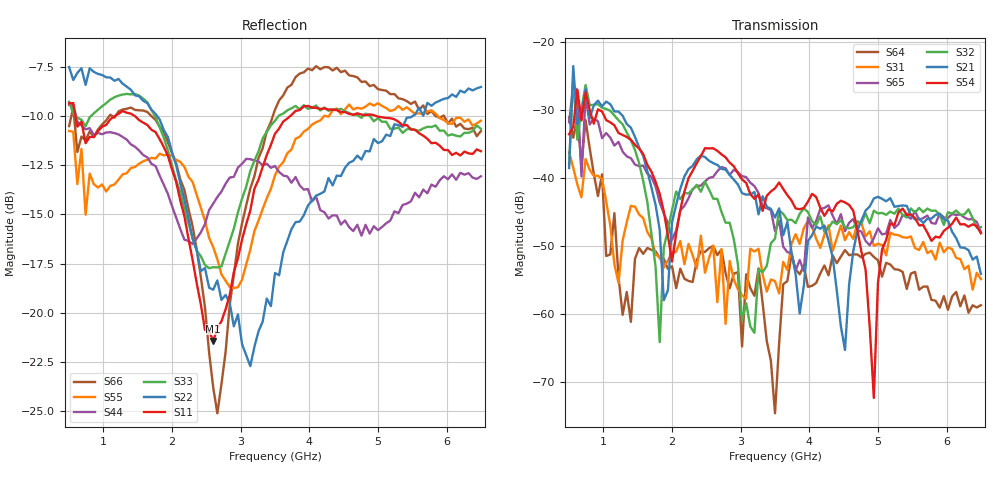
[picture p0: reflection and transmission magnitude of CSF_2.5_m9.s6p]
!Keysight Technologies,M9804A,MY58100912,A.14.10.03
!Date: Thursday, April 27, 2023 10:28:33
!Correction: S11(C  6-Port  )
!S12(C  6-Port  )
!S13(C  6-Port  )
!S14(C  6-Port  )
!S15(C  6-Port  )
!S16(C  6-Port  )
!S21(C  6-Port  )
!S22(C  6-Port  )
!S23(C  6-Port  )
!S24(C  6-Port  )
!S25(C  6-Port  )
!S26(C  6-Port  )
!S31(C  6-Port  )
!S32(C  6-Port  )
!S33(C  6-Port  )
!S34(C  6-Port  )
!S35(C  6-Port  )
!S36(C  6-Port  )
!S41(C  6-Port  )
!S42(C  6-Port  )
!S43(C  6-Port  )
!S44(C  6-Port  )
!S45(C  6-Port  )
!S46(C  6-Port  )
!S51(C  6-Port  )
!S52(C  6-Port  )
!S53(C  6-Port  )
!S54(C  6-Port  )
!S55(C  6-Port  )
!S56(C  6-Port  )
!S61(C  6-Port  )
!S62(C  6-Port  )
!S63(C  6-Port  )
!S64(C  6-Port  )
!S65(C  6-Port  )
!S66(C  6-Port  )
!S6P File: Measurement: :
# Hz S  RI  R 50
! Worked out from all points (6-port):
!   101 points, 500 MHz to 6.5 GHz, reference 50 ohm
!   strongest paths, dB at 500 MHz, 2 GHz, 3.5 GHz, 5 GHz, 6.5 GHz:
!     S54: -33.6, -52.3, -41.5, -55.4, -48.1
!     S21: -38.5, -46.5, -45.8, -42.8, -54.1
!     S32: -37.9, -44.7, -48.9, -45.2, -47.2
!     S65: -31.8, -49.1, -47.8, -47.4, -47.9
!     S31: -36.2, -51.0, -55.2, -49.7, -54.9
!     S64: -31.0, -53.0, -74.6, -52.1, -58.7
!   lowest |S11| = -21.4 dB at 2.6 GHz (marker M1), VSWR 1.19, Z = 42.5 + j2.25 ohm
!   |S11| at or under -10 dB: 594 MHz to 1.157 GHz (563 MHz wide, 64.3 % of centre); 1.463 GHz to 3.716 GHz (2.253 GHz wide, 87 % of centre); 4.99 GHz to end of sweep
